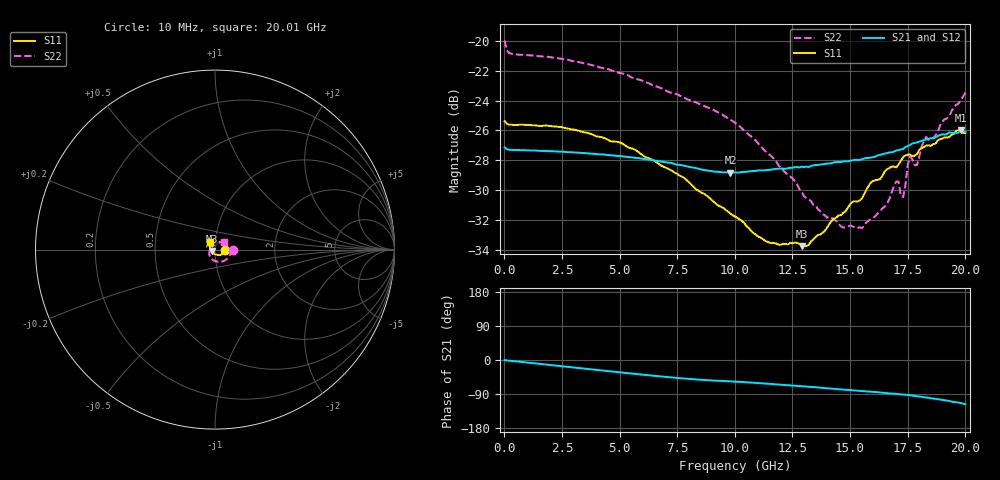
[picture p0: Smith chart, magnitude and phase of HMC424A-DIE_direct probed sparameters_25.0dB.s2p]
!s2p File: Measurements: S11, S21, S12, S22
# GHz S dB R 50.0
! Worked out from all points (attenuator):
!   201 points, 10 MHz to 20.01 GHz, reference 50 ohm
!   highest |S21| = -25.97 dB at 19.81 GHz (marker M1); lowest = -28.8 dB at 9.81 GHz (marker M2)
!   lowest |S11| = -33.8 dB at 12.91 GHz (marker M3), VSWR 1.04, Z = 48.1 - j0.794 ohm
!   |S11| at or under -10 dB: start of sweep to end of sweep
!   |S22| runs from -32.6 to -20.0 dB; largest |S21 - S12| = 0.00049
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0.01  -25.37 -0.1  -27.13 -0.3  -27.14 -0.1  -19.96 -1.9
0.11  -25.55 -1.6  -27.25 -1.2  -27.25 -1.2  -20.63 -3.7
0.31  -25.61 -2.4  -27.30 -2.3  -27.29 -2.4  -20.85 -4.9
3.41  -26.11 -23.9  -27.51 -22.4  -27.51 -22.4  -21.48 -39.1
6.71  -28.25 -51.9  -28.06 -42.9  -28.06 -42.9  -23.11 -75.3
9.81  -31.57 -89.5  -28.82 -56.4  -28.82 -56.4  -25.27 -112.7
10.01  -31.77 -92.2  -28.82 -57.1  -28.82 -57.0  -25.48 -115.7
11.51  -33.53 -122.3  -28.64 -63.0  -28.62 -62.8  -27.63 -139.5
12.91  -33.76 -156.3  -28.43 -69.4  -28.41 -69.4  -30.13 -166.4
13.41  -33.31 -168.0  -28.34 -71.4  -28.35 -71.4  -30.98 -177.6
14.61  -31.68 167.3  -28.12 -77.6  -28.10 -77.5  -32.43 148.6
15.31  -30.78 156.7  -27.97 -81.2  -27.95 -81.2  -32.57 127.3
16.71  -28.51 138.5  -27.47 -88.1  -27.45 -88.1  -30.60 94.7
17.01  -28.47 136.5  -27.34 -89.6  -27.29 -89.7  -29.43 84.2
17.31  -27.78 135.1  -27.24 -91.1  -27.22 -91.4  -30.47 81.0
17.51  -27.62 132.1  -27.04 -92.6  -27.07 -93.0  -28.27 82.2
17.61  -27.61 130.3  -26.97 -92.9  -27.02 -93.4  -27.74 75.9
17.91  -27.59 128.9  -26.80 -95.8  -26.85 -95.8  -28.32 69.9
18.31  -27.02 124.2  -26.60 -99.1  -26.65 -99.0  -26.43 61.6
18.61  -26.91 123.3  -26.53 -101.6  -26.52 -101.4  -26.51 56.7
19.81  -26.10 119.4  -25.97 -113.5  -25.98 -113.4  -23.96 43.1
20.01  -26.17 121.5  -26.10 -116.6  -26.08 -116.5  -23.45 40.3
